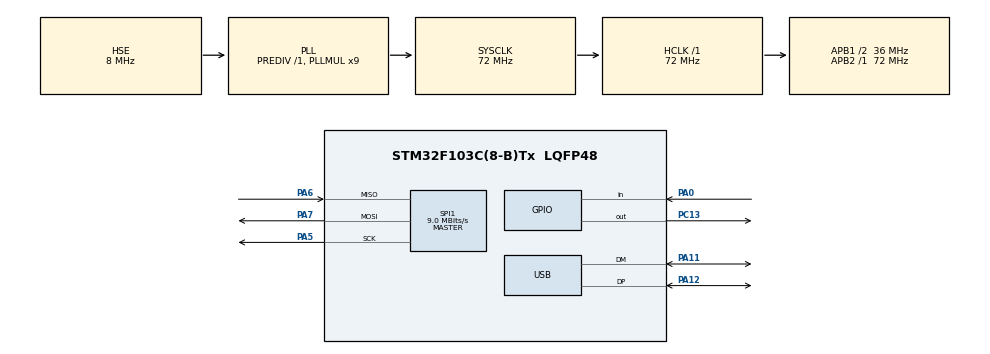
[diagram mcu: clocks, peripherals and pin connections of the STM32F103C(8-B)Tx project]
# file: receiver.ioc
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Mcu.Family=STM32F1
Mcu.Name=STM32F103C(8-B)Tx
Mcu.Package=LQFP48
NVIC.PriorityGroup=NVIC_PRIORITYGROUP_4
NVIC.USB_LP_CAN1_RX0_IRQn=true\:0\:0\:false\:false\:true\:false\:true\:true
PA0-WKUP.GPIO_PuPd=GPIO_PULLUP
PA0-WKUP.Signal=GPIO_Input
PA11.Mode=Device
PA11.Signal=USB_DM
PA12.Mode=Device
PA12.Signal=USB_DP
PA13.Mode=Serial_Wire
PA13.Signal=SYS_JTMS-SWDIO
PA14.Mode=Serial_Wire
PA14.Signal=SYS_JTCK-SWCLK
PA5.Mode=Full_Duplex_Master
PA5.Signal=SPI1_SCK
PA6.Mode=Full_Duplex_Master
PA6.Signal=SPI1_MISO
PA7.Mode=Full_Duplex_Master
PA7.Signal=SPI1_MOSI
PC13-TAMPER-RTC.GPIO_ModeDefaultOutputPP=GPIO_MODE_OUTPUT_PP
PC13-TAMPER-RTC.GPIO_PuPd=GPIO_NOPULL
PC13-TAMPER-RTC.Signal=GPIO_Output
PD0-OSC_IN.Mode=HSE-External-Oscillator
PD0-OSC_IN.Signal=RCC_OSC_IN
PD1-OSC_OUT.Mode=HSE-External-Oscillator
PD1-OSC_OUT.Signal=RCC_OSC_OUT
ProjectManager.HeapSize=0x200
ProjectManager.StackSize=0x400
ProjectManager.TargetToolchain=STM32CubeIDE
RCC.AHBFreq_Value=72000000
RCC.APB1CLKDivider=RCC_HCLK_DIV2
RCC.APB1Freq_Value=36000000
RCC.APB1TimFreq_Value=72000000
RCC.APB2Freq_Value=72000000
RCC.APB2TimFreq_Value=72000000
RCC.HCLKFreq_Value=72000000
RCC.PLLMUL=RCC_PLL_MUL9
RCC.SYSCLKFreq_VALUE=72000000
RCC.SYSCLKSource=RCC_SYSCLKSOURCE_PLLCLK
RCC.USBFreq_Value=48000000
RCC.USBPrescaler=RCC_USBCLKSOURCE_PLL_DIV1_5
SPI1.BaudRatePrescaler=SPI_BAUDRATEPRESCALER_8
SPI1.CalculateBaudRate=9.0 MBits/s
SPI1.Direction=SPI_DIRECTION_2LINES
SPI1.Mode=SPI_MODE_MASTER
SPI1.VirtualType=VM_MASTER
USB_DEVICE.CLASS_NAME_FS=CDC
USB_DEVICE.VirtualMode=Cdc
USB_DEVICE.VirtualModeFS=Cdc_FS
VP_USB_DEVICE_VS_USB_DEVICE_CDC_FS.Mode=CDC_FS
board=custom

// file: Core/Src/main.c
/* USER CODE BEGIN Header */
/**
  ******************************************************************************
  * @file           : main.c
  * @brief          : Main program body
  ******************************************************************************
  * @attention
  *
  * Copyright (c) 2025 STMicroelectronics.
  * All rights reserved.
  *
  * This software is licensed under terms that can be found in the LICENSE file
  * in the root directory of this software component.
  * If no LICENSE file comes with this software, it is provided AS-IS.
  *
  ******************************************************************************
  */
/* USER CODE END Header */
#include "main.h"
#include "usb_device.h"

/* USER CODE BEGIN Includes */
#include "usbd_cdc_if.h"
#include "string.h"
/* USER CODE END Includes */

SPI_HandleTypeDef hspi1;

/* USER CODE BEGIN PV */
extern USBD_HandleTypeDef hUsbDeviceFS;

/* USER CODE END PV */

void SystemClock_Config(void);
static void MX_GPIO_Init(void);
static void MX_SPI1_Init(void);
/* USER CODE BEGIN PFP */
static void usb_wait_configured(void);
/* USER CODE END PFP */

/* USER CODE BEGIN 0 */
static void usb_wait_configured(void) {
	while (hUsbDeviceFS.dev_state != USBD_STATE_CONFIGURED) {
		// Rapid LED Flashing - USB connecting state
		HAL_GPIO_TogglePin(GPIOC, GPIO_PIN_13);
		HAL_Delay(100);
	}
}

static void send_bytes(const uint8_t *buf, uint16_t len) {
	while (CDC_Transmit_FS((uint8_t *) buf, len) == USBD_BUSY);
}
/* USER CODE END 0 */

int main(void)
{

  /* MCU Configuration--------------------------------------------------------*/

  /* Reset of all peripherals, Initializes the Flash interface and the Systick. */
  HAL_Init();

  /* Configure the system clock */
  SystemClock_Config();

  /* Initialize all configured peripherals */
  MX_GPIO_Init();
  MX_SPI1_Init();
  MX_USB_DEVICE_Init();
  /* USER CODE BEGIN 2 */
  usb_wait_configured();

  char* msg = "Hello World!";
  int old_button_held = HAL_GPIO_ReadPin(GPIOA, GPIO_PIN_0);
  uint8_t note_on[] = {0x10, 60, 127}; // ch0, C4, velocity 127
  uint8_t note_off[] = {0x00, 60, 0};
  /* USER CODE END 2 */

  /* Infinite loop */
  while (1) {

    /* USER CODE BEGIN 3 */
  	int button_held = HAL_GPIO_ReadPin(GPIOA, GPIO_PIN_0);
  	if (old_button_held != button_held) {
  		// Edge detected
  		// TODO: add 5ms debounce
  		if (button_held == GPIO_PIN_RESET) {
  			send_bytes(note_on, sizeof note_on);
  		} else {
  			send_bytes(note_off, sizeof note_off);
  		}
  		old_button_held = button_held;
  	}
  }
  /* USER CODE END 3 */
}

void SystemClock_Config(void)
{
  RCC_OscInitTypeDef RCC_OscInitStruct = {0};
  RCC_ClkInitTypeDef RCC_ClkInitStruct = {0};
  RCC_PeriphCLKInitTypeDef PeriphClkInit = {0};

  /** Initializes the RCC Oscillators according to the specified parameters
  * in the RCC_OscInitTypeDef structure.
  */
  RCC_OscInitStruct.OscillatorType = RCC_OSCILLATORTYPE_HSE;
  RCC_OscInitStruct.HSEState = RCC_HSE_ON;
  RCC_OscInitStruct.HSEPredivValue = RCC_HSE_PREDIV_DIV1;
  RCC_OscInitStruct.HSIState = RCC_HSI_ON;
  RCC_OscInitStruct.PLL.PLLState = RCC_PLL_ON;
  RCC_OscInitStruct.PLL.PLLSource = RCC_PLLSOURCE_HSE;
  RCC_OscInitStruct.PLL.PLLMUL = RCC_PLL_MUL9;
  if (HAL_RCC_OscConfig(&RCC_OscInitStruct) != HAL_OK)
  {
    Error_Handler();
  }

  /** Initializes the CPU, AHB and APB buses clocks
  */
  RCC_ClkInitStruct.ClockType = RCC_CLOCKTYPE_HCLK|RCC_CLOCKTYPE_SYSCLK
                              |RCC_CLOCKTYPE_PCLK1|RCC_CLOCKTYPE_PCLK2;
  RCC_ClkInitStruct.SYSCLKSource = RCC_SYSCLKSOURCE_PLLCLK;
  RCC_ClkInitStruct.AHBCLKDivider = RCC_SYSCLK_DIV1;
  RCC_ClkInitStruct.APB1CLKDivider = RCC_HCLK_DIV2;
  RCC_ClkInitStruct.APB2CLKDivider = RCC_HCLK_DIV1;

  if (HAL_RCC_ClockConfig(&RCC_ClkInitStruct, FLASH_LATENCY_2) != HAL_OK)
  {
    Error_Handler();
  }
  PeriphClkInit.PeriphClockSelection = RCC_PERIPHCLK_USB;
  PeriphClkInit.UsbClockSelection = RCC_USBCLKSOURCE_PLL_DIV1_5;
  if (HAL_RCCEx_PeriphCLKConfig(&PeriphClkInit) != HAL_OK)
  {
    Error_Handler();
  }
}

static void MX_SPI1_Init(void)
{

  /* SPI1 parameter configuration*/
  hspi1.Instance = SPI1;
  hspi1.Init.Mode = SPI_MODE_MASTER;
  hspi1.Init.Direction = SPI_DIRECTION_2LINES;
  hspi1.Init.DataSize = SPI_DATASIZE_8BIT;
  hspi1.Init.CLKPolarity = SPI_POLARITY_LOW;
  hspi1.Init.CLKPhase = SPI_PHASE_1EDGE;
  hspi1.Init.NSS = SPI_NSS_SOFT;
  hspi1.Init.BaudRatePrescaler = SPI_BAUDRATEPRESCALER_8;
  hspi1.Init.FirstBit = SPI_FIRSTBIT_MSB;
  hspi1.Init.TIMode = SPI_TIMODE_DISABLE;
  hspi1.Init.CRCCalculation = SPI_CRCCALCULATION_DISABLE;
  hspi1.Init.CRCPolynomial = 10;
  if (HAL_SPI_Init(&hspi1) != HAL_OK)
  {
    Error_Handler();
  }

}

static void MX_GPIO_Init(void)
{
  GPIO_InitTypeDef GPIO_InitStruct = {0};

  /* GPIO Ports Clock Enable */
  __HAL_RCC_GPIOC_CLK_ENABLE();
  __HAL_RCC_GPIOD_CLK_ENABLE();
  __HAL_RCC_GPIOA_CLK_ENABLE();

  /*Configure GPIO pin Output Level */
  HAL_GPIO_WritePin(GPIOC, GPIO_PIN_13, GPIO_PIN_RESET);

  /*Configure GPIO pin : PC13 */
  GPIO_InitStruct.Pin = GPIO_PIN_13;
  GPIO_InitStruct.Mode = GPIO_MODE_OUTPUT_PP;
  GPIO_InitStruct.Pull = GPIO_NOPULL;
  GPIO_InitStruct.Speed = GPIO_SPEED_FREQ_LOW;
  HAL_GPIO_Init(GPIOC, &GPIO_InitStruct);

  /*Configure GPIO pin : PA0 */
  GPIO_InitStruct.Pin = GPIO_PIN_0;
  GPIO_InitStruct.Mode = GPIO_MODE_INPUT;
  GPIO_InitStruct.Pull = GPIO_PULLUP;
  HAL_GPIO_Init(GPIOA, &GPIO_InitStruct);

}

void Error_Handler(void)
{
  __disable_irq();
  while (1)
  {
  }
}
